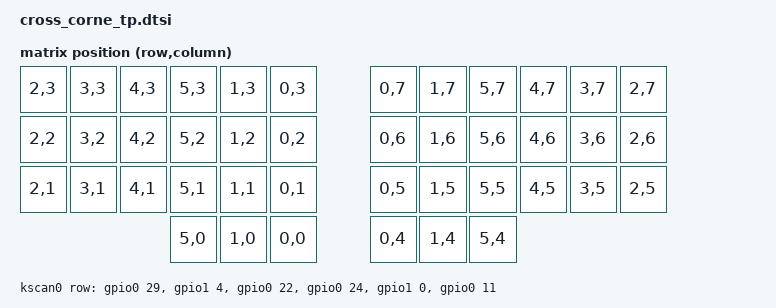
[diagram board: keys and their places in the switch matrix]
#include <dt-bindings/zmk/matrix_transform.h>
#include <dt-bindings/led/led.h>

/ {
    chosen {
        zmk,kscan = &kscan0;
        zmk,matrix_transform = &default_transform;
    };

    default_transform: keymap_transform_0 {
        compatible = "zmk,matrix-transform";
        columns = <8>;
        rows = <6>;

        map = <
            RC(2,3) RC(3,3) RC(4,3) RC(5,3) RC(1,3) RC(0,3)    RC(0,7) RC(1,7) RC(5,7) RC(4,7) RC(3,7) RC(2,7)
            RC(2,2) RC(3,2) RC(4,2) RC(5,2) RC(1,2) RC(0,2)    RC(0,6) RC(1,6) RC(5,6) RC(4,6) RC(3,6) RC(2,6)
            RC(2,1) RC(3,1) RC(4,1) RC(5,1) RC(1,1) RC(0,1)    RC(0,5) RC(1,5) RC(5,5) RC(4,5) RC(3,5) RC(2,5)
                                             RC(5,0) RC(1,0) RC(0,0)    RC(0,4) RC(1,4) RC(5,4)
        >;
    };

    kscan0: kscan {
        compatible = "zmk,kscan-gpio-matrix";

        diode-direction = "row2col";
        row-gpios
            = <&gpio0 29 GPIO_ACTIVE_HIGH>
            , <&gpio1 4  GPIO_ACTIVE_HIGH>
            , <&gpio0 22 GPIO_ACTIVE_HIGH>
            , <&gpio0 24 GPIO_ACTIVE_HIGH>
            , <&gpio1 0  GPIO_ACTIVE_HIGH>
            , <&gpio0 11 GPIO_ACTIVE_HIGH>
            ;
    };
};
